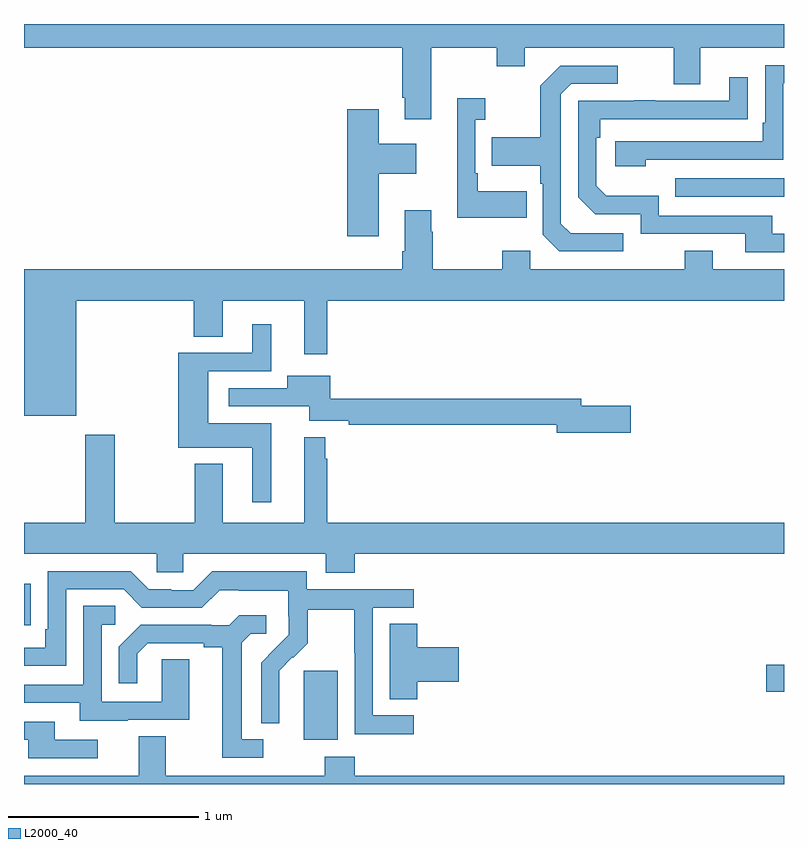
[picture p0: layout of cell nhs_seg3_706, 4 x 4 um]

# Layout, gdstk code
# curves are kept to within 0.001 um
import gdstk
lib = gdstk.Library(unit=1e-6, precision=1e-09)
def R(c, l, rs):  # rectangles x0, y0, x1, y1
    for r in rs: c.add(gdstk.rectangle(r[:2], r[2:], *l))
def P(c, l, *ps):  # polygons
    for p in ps: c.add(gdstk.Polygon(p, *l))
L2000_40 = (2000, 40)

nhs_seg3_706 = lib.new_cell('nhs_seg3_706')
R(nhs_seg3_706, L2000_40, [(148.472,670.634,148.651,670.995), (150.906,670.885,151,671.027), (147,671.236,147.035,671.455), (150.427,673.491,151,673.587)])
P(nhs_seg3_706, L2000_40, [(149.143,674.276),(149.488,674.276),(149.488,674.177),(149.635,674.177),(149.635,674.276),(150.419,674.276),(150.419,674.082),(150.559,674.082),(150.559,674.276),(151,674.276),(151,674.4),(147,674.4),(147,674.276),(148.991,674.276),(148.991,674.011),(149.003,674.011),(149.003,673.899),(149.143,673.899)],
  [(150.272,673.686),(150.996,673.686),(150.996,674.088),(151,674.088),(151,674.184),(150.9,674.184),(150.9,673.879),(150.887,673.879),(150.887,673.782),(150.111,673.782),(150.111,673.652),(150.272,673.652)],
  [(150.154,673.299),(149.877,673.299),(149.826,673.35),(149.826,674.031),(149.88,674.085),(150.124,674.085),(150.124,674.181),(149.823,674.181),(149.718,674.075),(149.718,673.803),(149.461,673.803),(149.461,673.655),(149.718,673.655),(149.718,673.559),(149.73,673.559),(149.73,673.29),(149.817,673.203),(150.154,673.203)],
  [(151,673.296),(150.937,673.296),(150.937,673.392),(150.342,673.392),(150.342,673.495),(150.065,673.495),(150.012,673.548),(150.012,673.802),(150.032,673.802),(150.032,673.899),(150.809,673.9),(150.809,674.119),(150.713,674.119),(150.713,673.995),(150.323,673.995),(150.323,674),(150.211,674),(150.211,673.995),(149.916,673.995),(149.916,673.488),(150.006,673.398),(150.246,673.398),(150.246,673.296),(150.797,673.296),(150.797,673.2),(151,673.2)],
  [(149.645,673.519),(149.389,673.519),(149.389,673.615),(149.376,673.615),(149.376,673.895),(149.428,673.895),(149.428,674.008),(149.279,674.008),(149.279,673.379),(149.645,673.379)],
  [(148.867,673.613),(149.065,673.613),(149.065,673.771),(148.867,673.771),(148.867,673.951),(148.7,673.951),(148.7,673.284),(148.867,673.284)],
  [(147,672.338),(147.274,672.338),(147.274,672.944),(147.893,672.944),(147.893,672.754),(148.045,672.754),(148.045,672.944),(148.475,672.944),(148.475,672.663),(148.597,672.663),(148.597,672.944),(151,672.944),(151,673.108),(150.625,673.108),(150.625,673.207),(150.478,673.207),(150.478,673.108),(149.664,673.108),(149.664,673.207),(149.518,673.207),(149.518,673.108),(149.151,673.108),(149.151,673.307),(149.143,673.307),(149.143,673.42),(149.003,673.42),(149.003,673.204),(148.991,673.204),(148.991,673.108),(147,673.108)],
  [(148.3,672.298),(147.97,672.298),(147.97,672.573),(148.3,672.573),(148.3,672.82),(148.202,672.82),(148.202,672.669),(147.812,672.669),(147.812,672.17),(148.202,672.17),(148.202,671.883),(148.3,671.883)],
  [(150.193,672.392),(149.932,672.392),(149.932,672.428),(148.612,672.428),(148.612,672.55),(148.385,672.55),(148.385,672.483),(148.077,672.483),(148.077,672.387),(148.502,672.387),(148.502,672.312),(148.708,672.312),(148.708,672.292),(149.804,672.292),(149.804,672.25),(150.193,672.25)],
  [(148.742,671.612),(151,671.612),(151,671.776),(148.597,671.776),(148.597,672.113),(148.586,672.113),(148.586,672.226),(148.475,672.226),(148.475,671.776),(148.045,671.776),(148.045,672.085),(147.898,672.085),(147.898,671.776),(147.477,671.776),(147.477,672.238),(147.322,672.238),(147.322,671.776),(147,671.776),(147,671.612),(147.699,671.612),(147.699,671.514),(147.837,671.514),(147.837,671.612),(148.589,671.612),(148.589,671.513),(148.742,671.513)],
  [(149.05,670.761),(148.836,670.761),(148.836,671.328),(149.05,671.328),(149.05,671.424),(148.488,671.424),(148.488,671.521),(147.991,671.521),(147.891,671.421),(147.776,671.421),(147.776,671.424),(147.657,671.424),(147.561,671.52),(147.126,671.52),(147.126,671.215),(147.113,671.215),(147.113,671.118),(147,671.118),(147,671.022),(147.222,671.022),(147.222,671.424),(147.525,671.424),(147.621,671.328),(147.936,671.328),(148.029,671.421),(148.129,671.421),(148.129,671.417),(148.392,671.417),(148.392,671.283),(148.394,671.283),(148.394,671.186),(148.248,671.038),(148.248,670.72),(148.344,670.72),(148.343,670.997),(148.413,671.067),(148.416,671.064),(148.493,671.141),(148.493,671.316),(148.738,671.316),(148.738,671.092),(148.74,671.092),(148.74,670.663),(149.05,670.663)],
  [(147.547,670.737),(147.871,670.737),(147.871,671.057),(147.726,671.057),(147.726,670.833),(147.408,670.833),(147.408,671.238),(147.481,671.238),(147.481,671.339),(147.312,671.339),(147.312,670.923),(147,670.923),(147,670.827),(147.293,670.827),(147.293,670.733),(147.547,670.733)],
  [(148.258,670.635),(148.147,670.635),(148.147,671.143),(148.194,671.19),(148.276,671.19),(148.276,671.287),(148.132,671.287),(148.08,671.235),(147.986,671.235),(147.986,671.238),(147.614,671.238),(147.498,671.122),(147.498,670.929),(147.595,670.929),(147.595,671.085),(147.652,671.142),(147.947,671.142),(147.947,671.12),(148.043,671.12),(148.043,670.539),(148.258,670.539)],
  [(149.069,670.937),(149.287,670.937),(149.287,671.12),(149.069,671.12),(149.069,671.243),(148.925,671.243),(148.925,670.846),(149.069,670.846)],
  [(147.388,670.632),(147.163,670.632),(147.163,670.728),(147,670.728),(147,670.632),(147.023,670.632),(147.023,670.536),(147.388,670.536)],
  [(151,670.444),(148.742,670.444),(148.742,670.543),(148.582,670.543),(148.582,670.444),(147.745,670.444),(147.745,670.652),(147.605,670.652),(147.605,670.444),(147,670.444),(147,670.4),(151,670.4)])

lib.write_gds('nhs_seg3_706.gds')
